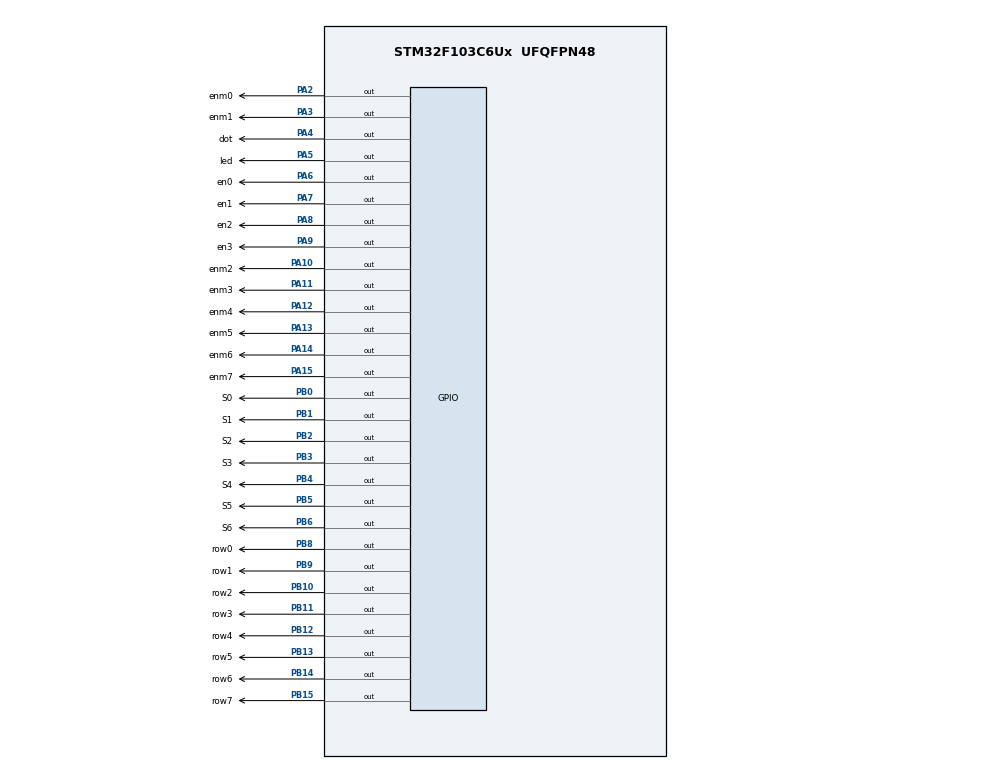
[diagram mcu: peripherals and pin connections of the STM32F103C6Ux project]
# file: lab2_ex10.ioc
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Mcu.Family=STM32F1
Mcu.Name=STM32F103C6Ux
Mcu.Package=UFQFPN48
NVIC.PriorityGroup=NVIC_PRIORITYGROUP_4
NVIC.TIM2_IRQn=true\:0\:0\:false\:false\:true\:true\:true
PA10.GPIO_Label=enm2
PA10.Signal=GPIO_Output
PA11.GPIO_Label=enm3
PA11.Signal=GPIO_Output
PA12.GPIO_Label=enm4
PA12.Signal=GPIO_Output
PA13.GPIO_Label=enm5
PA13.Signal=GPIO_Output
PA14.GPIO_Label=enm6
PA14.Signal=GPIO_Output
PA15.GPIO_Label=enm7
PA15.Signal=GPIO_Output
PA2.GPIO_Label=enm0
PA2.Signal=GPIO_Output
PA3.GPIO_Label=enm1
PA3.Signal=GPIO_Output
PA4.GPIO_Label=dot
PA4.Signal=GPIO_Output
PA5.GPIO_Label=led
PA5.Signal=GPIO_Output
PA6.GPIO_Label=en0
PA6.Signal=GPIO_Output
PA7.GPIO_Label=en1
PA7.Signal=GPIO_Output
PA8.GPIO_Label=en2
PA8.Signal=GPIO_Output
PA9.GPIO_Label=en3
PA9.Signal=GPIO_Output
PB0.GPIO_Label=S0
PB0.Signal=GPIO_Output
PB1.GPIO_Label=S1
PB1.Signal=GPIO_Output
PB10.GPIO_Label=row2
PB10.Signal=GPIO_Output
PB11.GPIO_Label=row3
PB11.Signal=GPIO_Output
PB12.GPIO_Label=row4
PB12.Signal=GPIO_Output
PB13.GPIO_Label=row5
PB13.Signal=GPIO_Output
PB14.GPIO_Label=row6
PB14.Signal=GPIO_Output
PB15.GPIO_Label=row7
PB15.Signal=GPIO_Output
PB2.GPIO_Label=S2
PB2.Signal=GPIO_Output
PB3.GPIO_Label=S3
PB3.Signal=GPIO_Output
PB4.GPIO_Label=S4
PB4.Signal=GPIO_Output
PB5.GPIO_Label=S5
PB5.Signal=GPIO_Output
PB6.GPIO_Label=S6
PB6.Signal=GPIO_Output
PB8.GPIO_Label=row0
PB8.Signal=GPIO_Output
PB9.GPIO_Label=row1
PB9.Signal=GPIO_Output
ProjectManager.HeapSize=0x200
ProjectManager.StackSize=0x400
ProjectManager.TargetToolchain=STM32CubeIDE
RCC.APB1Freq_Value=8000000
RCC.APB2Freq_Value=8000000
TIM2.Period=9
TIM2.Prescaler=7999
VP_SYS_VS_ND.Mode=No_Debug
VP_TIM2_VS_ClockSourceINT.Mode=Internal
board=custom

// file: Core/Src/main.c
/* USER CODE BEGIN Header */
/**
  ******************************************************************************
  * @file           : main.c
  * @brief          : Main program body
  ******************************************************************************
  * @attention
  *
  * <h2><center>&copy; Copyright (c) 2022 STMicroelectronics.
  * All rights reserved.</center></h2>
  *
  * This software component is licensed by ST under BSD 3-Clause license,
  * the "License"; You may not use this file except in compliance with the
  * License. You may obtain a copy of the License at:
  *                        opensource.org/licenses/BSD-3-Clause
  *
  ******************************************************************************
  */
/* USER CODE END Header */
#include "main.h"

TIM_HandleTypeDef htim2;

void SystemClock_Config(void);
static void MX_GPIO_Init(void);
static void MX_TIM2_Init(void);

/* USER CODE BEGIN 0 */
void updateClockBuffer();
void updateMatrixBuffer();
void display7SEG(int num);
void update7SEG(int index);
void displayLEDMatrix(int num);
void updateLEDMatrix(int index);

//update7SEG
const int MAX_LED = 4;
int index_led = 0;
int led_buffer[4] = {1, 2, 3, 4};

//updateLEDMatrix
const int MAX_LED_MATRIX = 8;
int index_led_matrix = 0;
uint8_t matrix_buffer[8] = {0x00,0x01,0x02,0x03,0x04,0x05,0x06,0x07};

//updateClockBuffer
int hour = 15 , minute = 8 , second = 50;

//setTimer0
int timer0_counter = 0;
int timer0_flag = 0;

//setTimer1
int timer1_counter = 0;
int timer1_flag = 0;

int TIMER_CYCLE = 10;

void setTimer0(int duration) {
	timer0_counter = duration / TIMER_CYCLE ;
	timer0_flag = 0;
}

void setTimer1(int duration) {
	timer1_counter = duration / TIMER_CYCLE;
	timer1_flag = 0;
}

void timer_run() {
	if(timer0_counter > 0) {
		timer0_counter--;
		if(timer0_counter == 0)
			timer0_flag = 1;
	}

	if(timer1_counter > 0) {
		timer1_counter--;
		if(timer1_counter == 0)
			timer1_flag = 1;
	}
}
/* USER CODE END 0 */

int main(void)
{

  /* MCU Configuration--------------------------------------------------------*/

  /* Reset of all peripherals, Initializes the Flash interface and the Systick. */
  HAL_Init();

  /* Configure the system clock */
  SystemClock_Config();

  /* Initialize all configured peripherals */
  MX_GPIO_Init();
  MX_TIM2_Init();
  /* USER CODE BEGIN 2 */
  HAL_TIM_Base_Start_IT(& htim2);
  setTimer0(1000);
  setTimer1(125);
  /* USER CODE END 2 */

  /* Infinite loop */
  while (1)
  {

    /* USER CODE BEGIN 3 */
	  if(timer0_flag == 1) {
		  updateMatrixBuffer();
		  setTimer0(1000);
	  }

	  if(timer1_flag == 1) {
		  updateLEDMatrix(index_led_matrix);
		  setTimer1(125);
	  }
  }
  /* USER CODE END 3 */
}

void SystemClock_Config(void)
{
  RCC_OscInitTypeDef RCC_OscInitStruct = {0};
  RCC_ClkInitTypeDef RCC_ClkInitStruct = {0};

  /** Initializes the RCC Oscillators according to the specified parameters
  * in the RCC_OscInitTypeDef structure.
  */
  RCC_OscInitStruct.OscillatorType = RCC_OSCILLATORTYPE_HSI;
  RCC_OscInitStruct.HSIState = RCC_HSI_ON;
  RCC_OscInitStruct.HSICalibrationValue = RCC_HSICALIBRATION_DEFAULT;
  RCC_OscInitStruct.PLL.PLLState = RCC_PLL_NONE;
  if (HAL_RCC_OscConfig(&RCC_OscInitStruct) != HAL_OK)
  {
    Error_Handler();
  }
  /** Initializes the CPU, AHB and APB buses clocks
  */
  RCC_ClkInitStruct.ClockType = RCC_CLOCKTYPE_HCLK|RCC_CLOCKTYPE_SYSCLK
                              |RCC_CLOCKTYPE_PCLK1|RCC_CLOCKTYPE_PCLK2;
  RCC_ClkInitStruct.SYSCLKSource = RCC_SYSCLKSOURCE_HSI;
  RCC_ClkInitStruct.AHBCLKDivider = RCC_SYSCLK_DIV1;
  RCC_ClkInitStruct.APB1CLKDivider = RCC_HCLK_DIV1;
  RCC_ClkInitStruct.APB2CLKDivider = RCC_HCLK_DIV1;

  if (HAL_RCC_ClockConfig(&RCC_ClkInitStruct, FLASH_LATENCY_0) != HAL_OK)
  {
    Error_Handler();
  }
}

static void MX_TIM2_Init(void)
{

  TIM_ClockConfigTypeDef sClockSourceConfig = {0};
  TIM_MasterConfigTypeDef sMasterConfig = {0};

  htim2.Instance = TIM2;
  htim2.Init.Prescaler = 7999;
  htim2.Init.CounterMode = TIM_COUNTERMODE_UP;
  htim2.Init.Period = 9;
  htim2.Init.ClockDivision = TIM_CLOCKDIVISION_DIV1;
  htim2.Init.AutoReloadPreload = TIM_AUTORELOAD_PRELOAD_DISABLE;
  if (HAL_TIM_Base_Init(&htim2) != HAL_OK)
  {
    Error_Handler();
  }
  sClockSourceConfig.ClockSource = TIM_CLOCKSOURCE_INTERNAL;
  if (HAL_TIM_ConfigClockSource(&htim2, &sClockSourceConfig) != HAL_OK)
  {
    Error_Handler();
  }
  sMasterConfig.MasterOutputTrigger = TIM_TRGO_RESET;
  sMasterConfig.MasterSlaveMode = TIM_MASTERSLAVEMODE_DISABLE;
  if (HAL_TIMEx_MasterConfigSynchronization(&htim2, &sMasterConfig) != HAL_OK)
  {
    Error_Handler();
  }

}

static void MX_GPIO_Init(void)
{
  GPIO_InitTypeDef GPIO_InitStruct = {0};

  /* GPIO Ports Clock Enable */
  __HAL_RCC_GPIOA_CLK_ENABLE();
  __HAL_RCC_GPIOB_CLK_ENABLE();

  /*Configure GPIO pin Output Level */
  HAL_GPIO_WritePin(GPIOA, enm0_Pin|enm1_Pin|dot_Pin|led_Pin
                          |en0_Pin|en1_Pin|en2_Pin|en3_Pin
                          |enm2_Pin|enm3_Pin|enm4_Pin|enm5_Pin
                          |enm6_Pin|enm7_Pin, GPIO_PIN_RESET);

  /*Configure GPIO pin Output Level */
  HAL_GPIO_WritePin(GPIOB, S0_Pin|S1_Pin|S2_Pin|row2_Pin
                          |row3_Pin|row4_Pin|row5_Pin|row6_Pin
                          |row7_Pin|S3_Pin|S4_Pin|S5_Pin
                          |S6_Pin|row0_Pin|row1_Pin, GPIO_PIN_RESET);

  /*Configure GPIO pins : enm0_Pin enm1_Pin dot_Pin led_Pin
                           en0_Pin en1_Pin en2_Pin en3_Pin
                           enm2_Pin enm3_Pin enm4_Pin enm5_Pin
                           enm6_Pin enm7_Pin */
  GPIO_InitStruct.Pin = enm0_Pin|enm1_Pin|dot_Pin|led_Pin
                          |en0_Pin|en1_Pin|en2_Pin|en3_Pin
                          |enm2_Pin|enm3_Pin|enm4_Pin|enm5_Pin
                          |enm6_Pin|enm7_Pin;
  GPIO_InitStruct.Mode = GPIO_MODE_OUTPUT_PP;
  GPIO_InitStruct.Pull = GPIO_NOPULL;
  GPIO_InitStruct.Speed = GPIO_SPEED_FREQ_LOW;
  HAL_GPIO_Init(GPIOA, &GPIO_InitStruct);

  /*Configure GPIO pins : S0_Pin S1_Pin S2_Pin row2_Pin
                           row3_Pin row4_Pin row5_Pin row6_Pin
                           row7_Pin S3_Pin S4_Pin S5_Pin
                           S6_Pin row0_Pin row1_Pin */
  GPIO_InitStruct.Pin = S0_Pin|S1_Pin|S2_Pin|row2_Pin
                          |row3_Pin|row4_Pin|row5_Pin|row6_Pin
                          |row7_Pin|S3_Pin|S4_Pin|S5_Pin
                          |S6_Pin|row0_Pin|row1_Pin;
  GPIO_InitStruct.Mode = GPIO_MODE_OUTPUT_PP;
  GPIO_InitStruct.Pull = GPIO_NOPULL;
  GPIO_InitStruct.Speed = GPIO_SPEED_FREQ_LOW;
  HAL_GPIO_Init(GPIOB, &GPIO_InitStruct);

}

/* USER CODE BEGIN 4 */
void display7SEG(int num) {
	int dis_arr[10] = { 0x3f, 0x06, 0x5b, 0x4f, 0x66, 0x6d, 0x7d, 0x07, 0x7f, 0x6f };
	int bit_var, var2;

	var2 = ~dis_arr[num];
	bit_var = var2 & 0x01;
	HAL_GPIO_WritePin(GPIOB, S0_Pin, bit_var);

	bit_var = (var2>>1) & 0x01;
	HAL_GPIO_WritePin(GPIOB, S1_Pin, bit_var);

	bit_var = (var2>>2) & 0x01;
	HAL_GPIO_WritePin(GPIOB, S2_Pin, bit_var);

	bit_var = (var2>>3) & 0x01;
	HAL_GPIO_WritePin(GPIOB, S3_Pin, bit_var);

	bit_var = (var2>>4) & 0x01;
	HAL_GPIO_WritePin(GPIOB, S4_Pin, bit_var);

	bit_var = (var2>>5) & 0x01;
	HAL_GPIO_WritePin(GPIOB, S5_Pin, bit_var);

	bit_var = (var2>>6) & 0x01;
	HAL_GPIO_WritePin(GPIOB, S6_Pin, bit_var);
}

void update7SEG(int index) {
	switch(index) {
	case 0:
	// Display the first 7 SEG with led_buffer [0]
		display7SEG(led_buffer[index]);
		index_led = 1;
		HAL_GPIO_WritePin(GPIOA, en0_Pin, RESET);
		HAL_GPIO_WritePin(GPIOA, en1_Pin, SET);
		HAL_GPIO_WritePin(GPIOA, en2_Pin, SET);
		HAL_GPIO_WritePin(GPIOA, en3_Pin, SET);
		break ;
	case 1:
	 // Display the second 7 SEG with led_buffer [1]
		display7SEG(led_buffer[index]);
		index_led = 2;
		HAL_GPIO_WritePin(GPIOA, en0_Pin, SET);
		HAL_GPIO_WritePin(GPIOA, en1_Pin, RESET);
		HAL_GPIO_WritePin(GPIOA, en2_Pin, SET);
		HAL_GPIO_WritePin(GPIOA, en3_Pin, SET);
		break ;
	case 2:
	// Display the third 7 SEG with led_buffer [2]
		display7SEG(led_buffer[index]);
		index_led = 3;
		HAL_GPIO_WritePin(GPIOA, en0_Pin, SET);
		HAL_GPIO_WritePin(GPIOA, en1_Pin, SET);
		HAL_GPIO_WritePin(GPIOA, en2_Pin, RESET);
		HAL_GPIO_WritePin(GPIOA, en3_Pin, SET);
		break ;
	case 3:
	// Display the forth 7 SEG with led_buffer [3]
		display7SEG(led_buffer[index]);
		index_led = 0;
		HAL_GPIO_WritePin(GPIOA, en0_Pin, SET);
		HAL_GPIO_WritePin(GPIOA, en1_Pin, SET);
		HAL_GPIO_WritePin(GPIOA, en2_Pin, SET);
		HAL_GPIO_WritePin(GPIOA, en3_Pin, RESET);
		break ;
	default :
		break ;
	}
}

void HAL_TIM_PeriodElapsedCallback(TIM_HandleTypeDef *htim) {
	timer_run();
}

void updateClockBuffer() {
	//update hour
	if(hour >= 10)
		led_buffer[0] = hour/10;
	else
		led_buffer[0] = 0;
	led_buffer[1] = hour%10;

	//update minute
	if(minute >= 10)
		led_buffer[2] = minute/10;
	else
		led_buffer[2] = 0;
	led_buffer[3] = minute%10;
}

void displayLEDMatrix(int num) {
	//Variable var2 takes the code inverse of the 'index' row from the dis_arr[8] array,
	//decodes select which LED in which column is allowed to light by bit shifting, and turns on the selected LED.
	int dis_arr[8] = {0x18,0x24,0x42,0x42,0x7E,0x42,0x42,0x42};
	int bit_var, var2;

	var2 = ~dis_arr[num];
	bit_var = var2 & 0x01;
	HAL_GPIO_WritePin(enm0_GPIO_Port, enm0_Pin, bit_var);

	bit_var = (var2>>1) & 0x01;
	HAL_GPIO_WritePin(enm1_GPIO_Port, enm1_Pin, bit_var);

	bit_var = (var2>>2) & 0x01;
	HAL_GPIO_WritePin(enm2_GPIO_Port, enm2_Pin, bit_var);

	bit_var = (var2>>3) & 0x01;
	HAL_GPIO_WritePin(enm3_GPIO_Port, enm3_Pin, bit_var);

	bit_var = (var2>>4) & 0x01;
	HAL_GPIO_WritePin(enm4_GPIO_Port, enm4_Pin, bit_var);

	bit_var = (var2>>5) & 0x01;
	HAL_GPIO_WritePin(enm5_GPIO_Port, enm5_Pin, bit_var);

	bit_var = (var2>>6) & 0x01;
	HAL_GPIO_WritePin(enm6_GPIO_Port, enm6_Pin, bit_var);

	bit_var = (var2>>7) & 0x01;
	HAL_GPIO_WritePin(enm7_GPIO_Port, enm7_Pin, bit_var);
}

void updateLEDMatrix(int index) {
    //Get the display effect based on the matrix_buffer[index] array
	//and update the index_led_matrix to jump to the next state when calling the updateLEDMatrix function.
	//Also, enable the 'index' row to be turned on and the remaining rows off.
	switch(index) {
		case 0:
			displayLEDMatrix(matrix_buffer[index]);
			index_led_matrix = 1;
			HAL_GPIO_WritePin(row0_GPIO_Port, row0_Pin, RESET);
			HAL_GPIO_WritePin(row1_GPIO_Port, row1_Pin, SET);
			HAL_GPIO_WritePin(row2_GPIO_Port, row2_Pin, SET);
			HAL_GPIO_WritePin(row3_GPIO_Port, row3_Pin, SET);
			HAL_GPIO_WritePin(row4_GPIO_Port, row4_Pin, SET);
			HAL_GPIO_WritePin(row5_GPIO_Port, row5_Pin, SET);
			HAL_GPIO_WritePin(row6_GPIO_Port, row6_Pin, SET);
			HAL_GPIO_WritePin(row7_GPIO_Port, row7_Pin, SET);
			break ;
		case 1:
			displayLEDMatrix(matrix_buffer[index]);
			index_led_matrix = 2;
			HAL_GPIO_WritePin(row0_GPIO_Port, row0_Pin, SET);
			HAL_GPIO_WritePin(row1_GPIO_Port, row1_Pin, RESET);
			HAL_GPIO_WritePin(row2_GPIO_Port, row2_Pin, SET);
			HAL_GPIO_WritePin(row3_GPIO_Port, row3_Pin, SET);
			HAL_GPIO_WritePin(row4_GPIO_Port, row4_Pin, SET);
			HAL_GPIO_WritePin(row5_GPIO_Port, row5_Pin, SET);
			HAL_GPIO_WritePin(row6_GPIO_Port, row6_Pin, SET);
			HAL_GPIO_WritePin(row7_GPIO_Port, row7_Pin, SET);
			break ;
		case 2:
			displayLEDMatrix(matrix_buffer[index]);
			index_led_matrix = 3;
			HAL_GPIO_WritePin(row0_GPIO_Port, row0_Pin, SET);
			HAL_GPIO_WritePin(row1_GPIO_Port, row1_Pin, SET);
			HAL_GPIO_WritePin(row2_GPIO_Port, row2_Pin, RESET);
			HAL_GPIO_WritePin(row3_GPIO_Port, row3_Pin, SET);
			HAL_GPIO_WritePin(row4_GPIO_Port, row4_Pin, SET);
			HAL_GPIO_WritePin(row5_GPIO_Port, row5_Pin, SET);
			HAL_GPIO_WritePin(row6_GPIO_Port, row6_Pin, SET);
			HAL_GPIO_WritePin(row7_GPIO_Port, row7_Pin, SET);
			break ;
		case 3:
			displayLEDMatrix(matrix_buffer[index]);
			index_led_matrix = 4;
			HAL_GPIO_WritePin(row0_GPIO_Port, row0_Pin, SET);
			HAL_GPIO_WritePin(row1_GPIO_Port, row1_Pin, SET);
			HAL_GPIO_WritePin(row2_GPIO_Port, row2_Pin, SET);
			HAL_GPIO_WritePin(row3_GPIO_Port, row3_Pin, RESET);
			HAL_GPIO_WritePin(row4_GPIO_Port, row4_Pin, SET);
			HAL_GPIO_WritePin(row5_GPIO_Port, row5_Pin, SET);
			HAL_GPIO_WritePin(row6_GPIO_Port, row6_Pin, SET);
			HAL_GPIO_WritePin(row7_GPIO_Port, row7_Pin, SET);
			break ;
		case 4:
			displayLEDMatrix(matrix_buffer[index]);
			index_led_matrix = 5;
			HAL_GPIO_WritePin(row0_GPIO_Port, row0_Pin, SET);
			HAL_GPIO_WritePin(row1_GPIO_Port, row1_Pin, SET);
			HAL_GPIO_WritePin(row2_GPIO_Port, row2_Pin, SET);
			HAL_GPIO_WritePin(row3_GPIO_Port, row3_Pin, SET);
			HAL_GPIO_WritePin(row4_GPIO_Port, row4_Pin, RESET);
			HAL_GPIO_WritePin(row5_GPIO_Port, row5_Pin, SET);
			HAL_GPIO_WritePin(row6_GPIO_Port, row6_Pin, SET);
			HAL_GPIO_WritePin(row7_GPIO_Port, row7_Pin, SET);
			break ;
		case 5:
			displayLEDMatrix(matrix_buffer[index]);
			index_led_matrix = 6;
			HAL_GPIO_WritePin(row0_GPIO_Port, row0_Pin, SET);
			HAL_GPIO_WritePin(row1_GPIO_Port, row1_Pin, SET);
			HAL_GPIO_WritePin(row2_GPIO_Port, row2_Pin, SET);
			HAL_GPIO_WritePin(row3_GPIO_Port, row3_Pin, SET);
			HAL_GPIO_WritePin(row4_GPIO_Port, row4_Pin, SET);
			HAL_GPIO_WritePin(row5_GPIO_Port, row5_Pin, RESET);
			HAL_GPIO_WritePin(row6_GPIO_Port, row6_Pin, SET);
			HAL_GPIO_WritePin(row7_GPIO_Port, row7_Pin, SET);
			break ;
		case 6:
			displayLEDMatrix(matrix_buffer[index]);
			index_led_matrix = 7;
			HAL_GPIO_WritePin(row0_GPIO_Port, row0_Pin, SET);
			HAL_GPIO_WritePin(row1_GPIO_Port, row1_Pin, SET);
			HAL_GPIO_WritePin(row2_GPIO_Port, row2_Pin, SET);
			HAL_GPIO_WritePin(row3_GPIO_Port, row3_Pin, SET);
			HAL_GPIO_WritePin(row4_GPIO_Port, row4_Pin, SET);
			HAL_GPIO_WritePin(row5_GPIO_Port, row5_Pin, SET);
			HAL_GPIO_WritePin(row6_GPIO_Port, row6_Pin, RESET);
			HAL_GPIO_WritePin(row7_GPIO_Port, row7_Pin, SET);
			break ;
		case 7:
			displayLEDMatrix(matrix_buffer[index]);
			index_led_matrix = 0;
			HAL_GPIO_WritePin(row0_GPIO_Port, row0_Pin, SET);
			HAL_GPIO_WritePin(row1_GPIO_Port, row1_Pin, SET);
			HAL_GPIO_WritePin(row2_GPIO_Port, row2_Pin, SET);
			HAL_GPIO_WritePin(row3_GPIO_Port, row3_Pin, SET);
			HAL_GPIO_WritePin(row4_GPIO_Port, row4_Pin, SET);
			HAL_GPIO_WritePin(row5_GPIO_Port, row5_Pin, SET);
			HAL_GPIO_WritePin(row6_GPIO_Port, row6_Pin, SET);
			HAL_GPIO_WritePin(row7_GPIO_Port, row7_Pin, RESET);
			break ;
		default :
			break ;
	}
}

//New status update for each row of LED matrix 8x8
uint8_t temp;
void updateMatrixBuffer() {
	temp = matrix_buffer[0];
	matrix_buffer[0] = matrix_buffer[1];
	matrix_buffer[1] = matrix_buffer[2];
	matrix_buffer[2] = matrix_buffer[3];
	matrix_buffer[3] = matrix_buffer[4];
	matrix_buffer[4] = matrix_buffer[5];
	matrix_buffer[5] = matrix_buffer[6];
	matrix_buffer[6] = matrix_buffer[7];
	matrix_buffer[7] = temp;
}
/* USER CODE END 4 */

void Error_Handler(void)
{
  __disable_irq();
  while (1)
  {
  }
}

/************************ (C) COPYRIGHT STMicroelectronics *****END OF FILE****/
